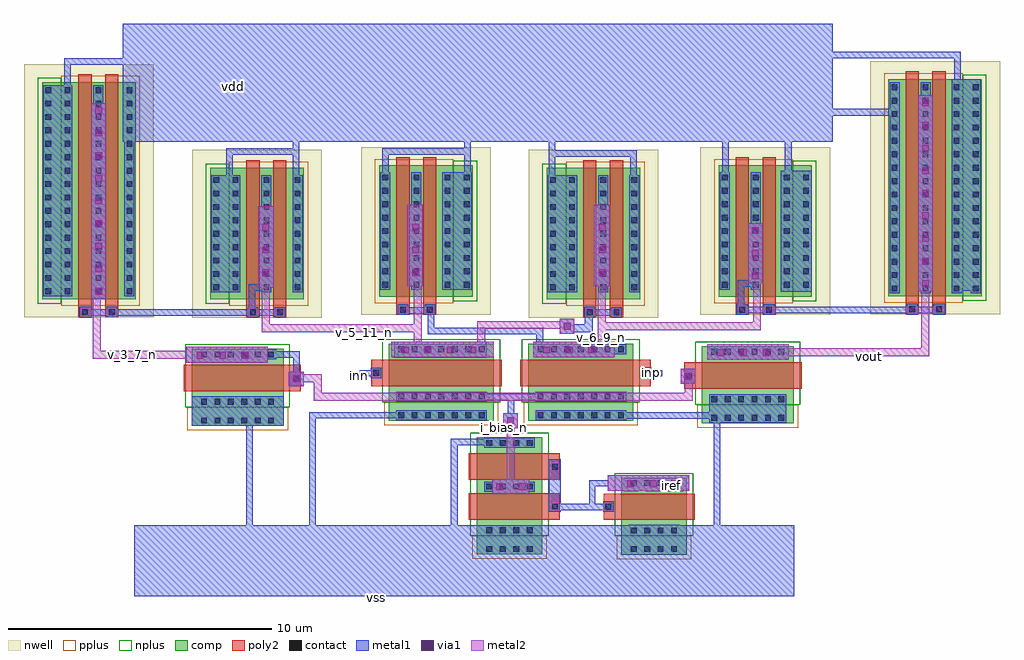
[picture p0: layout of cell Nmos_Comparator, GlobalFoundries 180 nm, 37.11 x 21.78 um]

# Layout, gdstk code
from math import pi, radians
import gdstk
lib = gdstk.Library(unit=1e-6, precision=1e-09)
def R(c, l, rs):  # rectangles x0, y0, x1, y1
    for r in rs: c.add(gdstk.rectangle(r[:2], r[2:], *l))
def A(c, l, x, y, w, h, nx, ny, dx, dy):  # array of equal rectangles
    R(c, l, [(x+i*dx, y+j*dy, x+i*dx+w, y+j*dy+h) for i in range(nx) for j in range(ny)])
nwell = (21, 0)
comp = (22, 0)
poly2 = (30, 0)
pplus = (31, 0)
nplus = (32, 0)
contact = (33, 0)
metal1 = (34, 0)
via1 = (35, 0)
metal2 = (36, 0)

via_dev = lib.new_cell('via_dev')
R(via_dev, metal1, [(0,0,0.56,0.56)])
R(via_dev, via1, [(0.15,0.15,0.41,0.41)])
R(via_dev, metal2, [(0,0,0.56,0.56)])

pfet_3 = lib.new_cell('pfet$3')
R(pfet_3, nwell, [(-1.15,-0.69,3.78,5.69)])
R(pfet_3, comp, [(-0.46,0,0,5), (0,0,1.9,5), (1.9,0,2.36,5), (2.36,0,3.09,5)])
R(pfet_3, poly2, [(0.19,-0.3,0.69,5.3), (1.21,-0.3,1.71,5.3), (0.19,5.3,0.69,5.68), (1.21,5.3,1.71,5.68)])
R(pfet_3, pplus, [(-0.63,-0.24,2.36,5.24)])
R(pfet_3, nplus, [(2.36,-0.17,3.26,5.17)])
A(pfet_3, contact, -0.34, 0.35, 0.22, 0.22, 3, 9, 1.18, 0.51)
A(pfet_3, contact, 2.75, 0.35, 0.22, 0.22, 1, 9, 0, 0.51)
R(pfet_3, contact, [(0.33,5.38,0.55,5.6), (1.35,5.38,1.57,5.6)])
A(pfet_3, metal1, -0.42, 0.27, 0.38, 4.46, 3, 1, 1.18, 0)
R(pfet_3, metal1, [(2.67,0.27,3.05,4.73), (0.25,5.299,0.63,5.681), (1.27,5.299,1.65,5.681)])

pfet = lib.new_cell('pfet')

nfet_6 = lib.new_cell('nfet$6')
R(nfet_6, comp, [(-0.42,0,0,3.5), (0,0,1.38,3.5), (1.38,0,1.8,3.5), (1.8,0,2.51,3.5)])
R(nfet_6, poly2, [(0.19,-0.3,1.19,3.8), (0.19,3.8,1.19,4.16)])
R(nfet_6, pplus, [(1.8,-0.17,2.68,3.67)])
R(nfet_6, nplus, [(-0.59,-0.24,1.8,3.74)])
A(nfet_6, contact, -0.32, 0.365, 0.22, 0.22, 1, 6, 0, 0.51)
A(nfet_6, contact, 1.48, 0.365, 0.22, 0.22, 1, 6, 0, 0.51)
A(nfet_6, contact, 2.19, 0.365, 0.22, 0.22, 1, 6, 0, 0.51)
R(nfet_6, contact, [(0.58,3.87,0.8,4.09)])
R(nfet_6, metal1, [(-0.4,0.285,-0.02,3.215), (1.4,0.285,1.78,3.215), (2.11,0.285,2.49,3.215), (0.5,3.789,0.88,4.171)])

nfet_5 = lib.new_cell('nfet$5')
R(nfet_5, comp, [(-0.42,0,0,4), (0,0,1.38,4), (1.38,0,1.8,4), (1.8,0,2.51,4)])
R(nfet_5, poly2, [(0.19,-0.3,1.19,4.3), (0.19,4.3,1.19,4.66)])
R(nfet_5, pplus, [(1.8,-0.17,2.68,4.17)])
R(nfet_5, nplus, [(-0.59,-0.24,1.8,4.24)])
A(nfet_5, contact, -0.32, 0.36, 0.22, 0.22, 1, 7, 0, 0.51)
A(nfet_5, contact, 1.48, 0.36, 0.22, 0.22, 1, 7, 0, 0.51)
A(nfet_5, contact, 2.19, 0.36, 0.22, 0.22, 1, 7, 0, 0.51)
R(nfet_5, contact, [(0.58,4.37,0.8,4.59)])
R(nfet_5, metal1, [(-0.4,0.28,-0.02,3.72), (1.4,0.28,1.78,3.72), (2.11,0.28,2.49,3.72), (0.5,4.289,0.88,4.671)])

pfet_1 = lib.new_cell('pfet$1')
R(pfet_1, nwell, [(-1.15,-0.69,3.78,8.94)])
R(pfet_1, comp, [(-0.46,0,0,8.25), (0,0,1.9,8.25), (1.9,0,2.36,8.25), (2.36,0,3.09,8.25)])
R(pfet_1, poly2, [(0.19,-0.3,0.69,8.55), (1.21,-0.3,1.71,8.55), (0.19,8.55,0.69,8.93), (1.21,8.55,1.71,8.93)])
R(pfet_1, pplus, [(-0.63,-0.24,2.36,8.49)])
R(pfet_1, nplus, [(2.36,-0.17,3.26,8.42)])
A(pfet_1, contact, -0.34, 0.19, 0.22, 0.22, 3, 16, 1.18, 0.51)
A(pfet_1, contact, 2.75, 0.19, 0.22, 0.22, 1, 16, 0, 0.51)
R(pfet_1, contact, [(0.33,8.63,0.55,8.85), (1.35,8.63,1.57,8.85)])
A(pfet_1, metal1, -0.42, 0.11, 0.38, 8.03, 3, 1, 1.18, 0)
R(pfet_1, metal1, [(2.67,0.11,3.05,8.14), (0.25,8.549,0.63,8.931), (1.27,8.549,1.65,8.931)])

nfet = lib.new_cell('nfet')
R(nfet, comp, [(-0.42,0,0,2.5), (0,0,2.9,2.5), (2.9,0,3.32,2.5), (3.32,0,4.03,2.5)])
R(nfet, poly2, [(0.19,-0.3,1.19,2.8), (1.71,-0.3,2.71,2.8), (0.19,2.8,1.19,3.16), (1.71,2.8,2.71,3.16)])
R(nfet, pplus, [(3.32,-0.17,4.2,2.67)])
R(nfet, nplus, [(-0.59,-0.24,3.32,2.74)])
A(nfet, contact, -0.32, 0.375, 0.22, 0.22, 3, 4, 1.66, 0.51)
A(nfet, contact, 3.71, 0.375, 0.22, 0.22, 1, 4, 0, 0.51)
R(nfet, contact, [(0.58,2.87,0.8,3.09), (2.1,2.87,2.32,3.09)])
A(nfet, metal1, -0.4, 0.295, 0.38, 1.91, 3, 1, 1.66, 0)
R(nfet, metal1, [(3.63,0.295,4.01,2.205), (0.5,2.789,0.88,3.171), (2.02,2.789,2.4,3.171)])

nfet_2 = lib.new_cell('nfet$2')
R(nfet_2, comp, [(-0.42,0,0,2.5), (0,0,1.38,2.5), (1.38,0,1.8,2.5), (1.8,0,2.51,2.5)])
R(nfet_2, poly2, [(0.19,-0.3,1.19,2.8), (0.19,2.8,1.19,3.16)])
R(nfet_2, pplus, [(1.8,-0.17,2.68,2.67)])
R(nfet_2, nplus, [(-0.59,-0.24,1.8,2.74)])
A(nfet_2, contact, -0.32, 0.375, 0.22, 0.22, 1, 4, 0, 0.51)
A(nfet_2, contact, 1.48, 0.375, 0.22, 0.22, 1, 4, 0, 0.51)
A(nfet_2, contact, 2.19, 0.375, 0.22, 0.22, 1, 4, 0, 0.51)
R(nfet_2, contact, [(0.58,2.87,0.8,3.09)])
R(nfet_2, metal1, [(-0.4,0.295,-0.02,2.205), (1.4,0.295,1.78,2.205), (2.11,0.295,2.49,2.205), (0.5,2.789,0.88,3.171)])

nmos_comparator = lib.new_cell('Nmos_Comparator')
R(nmos_comparator, metal1, [(-17.88,-9.19,7.22,-6.49), (0.91,-7.6,2.87,-6.47), (-4.55,-7.57,-2.655,-6.485), (-2.12,-5.98,-1.67,-3.98), (-0.05,-5.97,0.35,-5.57), (-4.27,-5.29,-2.85,-4.73), (0.13,-5.18,3.23,-4.58), (-15.7,-2.7,-12.2,-1.58), (3.985,-2.59,6.915,-1.5), (-11.92,-1.09,-11.52,-0.69), (3.01,-1,3.44,-0.58), (1.37,-0.9,1.78,-0.48), (-8.88,-0.89,-8.48,-0.49), (-15.9,-0.3,-12.8,0.3), (3.9,-0.2,7,0.4), (-7.99,-0.11,-4.49,0.49), (-2.7,-0.1,0.4,0.5), (-19.96,1.41,-19.5,1.82), (-13.56,1.41,-13.16,1.81), (-12.54,1.41,-12.14,1.81), (-0.76,1.41,-0.36,1.82), (0.26,1.41,0.66,1.81), (-18.93,1.42,-18.53,1.82), (-7.86,1.51,-7.46,1.92), (-6.84,1.51,-6.44,1.91), (5.04,1.51,5.45,1.92), (6.06,1.51,6.47,1.92), (11.5,1.52,11.91,1.93), (12.5,1.52,12.96,1.93), (-19.51,2.13,-18.95,9.57), (-21.34,2.22,-20.23,10.25), (-14.95,2.37,-13.84,6.83), (-2.15,2.37,-1.04,6.83), (6.7,2.4,7.89,7), (11.93,2.42,12.49,9.86), (13.21,2.435,14.31,10.465), (-6.16,2.47,-5.05,6.93), (-13.17,2.55,-12.57,5.65), (-7.5,2.6,-6.9,5.7), (-0.4,2.6,0.2,5.7), (5.46,2.72,6.02,5), (-2.125,6.83,-1.875,8.3), (-18.31,8.09,8.69,12.59)])
R(nmos_comparator, metal2, [(-4.27,-5.29,-2.85,-4.73), (0.13,-5.18,3.23,-4.58), (-15.9,-0.3,-12.8,0.3), (3.9,-0.2,7,0.4), (-8.1,-0.1,-4.2,0.5), (-2.7,-0.1,0.4,0.5), (-19.51,2.13,-18.95,9.57), (11.93,2.42,12.49,9.86), (-13.17,2.55,-12.57,5.65), (-7.5,2.6,-6.9,5.7), (-0.4,2.6,0.2,5.7), (5.46,2.72,6.02,5)])
nmos_comparator.add(gdstk.FlexPath([(-19.56,1.6),(-18.92,1.6)], 0.25, ends="flush", simple_path=True, layer=34, datatype=0))  # metal1
nmos_comparator.add(gdstk.FlexPath([(-12.53,1.6),(-13.17,1.6)], 0.25, ends="flush", simple_path=True, layer=34, datatype=0))  # metal1
nmos_comparator.add(gdstk.FlexPath([(-20.42,10.25),(-20.42,11.15),(-18.25,11.15),(-18.25,11.15)], 0.25, ends="flush", simple_path=True, layer=34, datatype=0))  # metal1
nmos_comparator.add(gdstk.FlexPath([(-14.26,6.56),(-14.26,7.73),(-11.6,7.73)], 0.25, ends="flush", simple_path=True, layer=34, datatype=0))  # metal1
nmos_comparator.add(gdstk.FlexPath([(-8.33,6.93),(-8.33,7.72),(-5.2,7.72)], 0.25, ends="flush", simple_path=True, layer=34, datatype=0))  # metal1
nmos_comparator.add(gdstk.FlexPath([(-13,2.55),(-13.4,2.55),(-13.4,1.72)], 0.25, ends="flush", simple_path=True, layer=34, datatype=0))  # metal1
nmos_comparator.add(gdstk.FlexPath([(-6.6,1.6),(-6.6,0.9),(-2.46,0.9),(-2.46,0.3)], 0.25, ends="flush", simple_path=True, layer=34, datatype=0))  # metal1
nmos_comparator.add(gdstk.FlexPath([(5.2,1.9),(5.2,2.7),(5.64,2.7)], 0.25, ends="flush", simple_path=True, layer=34, datatype=0))  # metal1
nmos_comparator.add(gdstk.FlexPath([(8.69,9.22),(11.22,9.22)], 0.25, ends="flush", simple_path=True, layer=34, datatype=0))  # metal1
nmos_comparator.add(gdstk.FlexPath([(-4.485,-3.32),(-5.71,-3.32),(-5.71,-6.785),(-4.4,-6.785)], 0.25, ends="flush", simple_path=True, layer=34, datatype=0))  # metal1
nmos_comparator.add(gdstk.FlexPath([(-0.6,1.5),(-0.6,1),(-1.14,1),(-1.14,1)], 0.3, ends="flush", simple_path=True, layer=34, datatype=0))  # metal1
nmos_comparator.add(gdstk.FlexPath([(1.1,6.75),(1.1,7.65),(-2.125,7.65)], 0.25, ends="flush", simple_path=True, layer=34, datatype=0))  # metal1
nmos_comparator.add(gdstk.FlexPath([(6.99,6.93),(6.99,8.43)], 0.25, ends="flush", simple_path=True, layer=34, datatype=0))  # metal1
nmos_comparator.add(gdstk.FlexPath([(11.9,1.7),(12.54,1.7)], 0.25, ends="flush", simple_path=True, layer=34, datatype=0))  # metal1
nmos_comparator.add(gdstk.FlexPath([(-3.56,-2.47),(-3.56,-1.6),(-2.39,-1.6)], 0.25, ends="flush", simple_path=True, layer=34, datatype=0))  # metal1
nmos_comparator.add(gdstk.FlexPath([(-3.56,-1.6),(-4.69,-1.6),(-4.69,-1.6)], 0.25, ends="flush", simple_path=True, layer=34, datatype=0))  # metal1
nmos_comparator.add(gdstk.FlexPath([(13.42,10.47),(13.42,11.4),(7.89,11.4)], 0.25, ends="flush", simple_path=True, layer=34, datatype=0))  # metal1
nmos_comparator.add(gdstk.FlexPath([(13.42,10.57),(13.42,10.06)], 0.25, ends="flush", simple_path=True, layer=34, datatype=0))  # metal1
nmos_comparator.add(gdstk.FlexPath([(-12.8,0),(-11.71,0),(-11.71,-0.78)], 0.25, ends="flush", simple_path=True, layer=34, datatype=0))  # metal1
nmos_comparator.add(gdstk.FlexPath([(0.82,-2.31),(4.11,-2.31)], 0.25, ends="flush", simple_path=True, layer=34, datatype=0))  # metal1
nmos_comparator.add(gdstk.FlexPath([(1.225,-4.89),(-0.47,-4.89),(-0.47,-5.675),(-0.47,-5.675)], 0.23, ends="flush", simple_path=True, layer=34, datatype=0))  # metal1
nmos_comparator.add(gdstk.FlexPath([(0.33,-5.79),(-1.87,-5.79),(-1.87,-4.29),(-1.87,-4.17),(-1.87,-4.17)], 0.23, ends="flush", simple_path=True, layer=34, datatype=0))  # metal1
nmos_comparator.add(gdstk.FlexPath([(4.285,-2.38),(4.285,-7.27),(4.48,-7.27)], 0.25, ends="flush", simple_path=True, layer=34, datatype=0))  # metal1
nmos_comparator.add(gdstk.FlexPath([(6.45,1.7),(11.52,1.7),(11.52,1.7)], 0.25, ends="flush", simple_path=True, layer=34, datatype=0))  # metal1
nmos_comparator.add(gdstk.FlexPath([(-3.715,-1.6),(-4.509,-1.6),(-4.509,-1.6)], 0.23, ends="flush", simple_path=True, layer=34, datatype=0))  # metal1
nmos_comparator.add(gdstk.FlexPath([(1.7,-0.7),(2.2,-0.7)], 0.23, ends="flush", simple_path=True, layer=34, datatype=0))  # metal1
nmos_comparator.add(gdstk.FlexPath([(-8.8,-0.7),(-9.3,-0.7)], 0.23, ends="flush", simple_path=True, layer=34, datatype=0))  # metal1
nmos_comparator.add(gdstk.FlexPath([(-7.85,-2.3),(-11.1,-2.3),(-11.1,-6.6),(-11.1,-6.6)], 0.23, ends="flush", simple_path=True, layer=34, datatype=0))  # metal1
nmos_comparator.add(gdstk.FlexPath([(-7.44,1.68),(-6.8,1.68),(-6.8,1.68)], 0.25, ends="flush", simple_path=True, layer=34, datatype=0))  # metal1
nmos_comparator.add(gdstk.FlexPath([(-0.37,1.6),(0.27,1.6)], 0.25, ends="flush", simple_path=True, layer=34, datatype=0))  # metal1
nmos_comparator.add(gdstk.FlexPath([(6.07,1.7),(5.43,1.7)], 0.25, ends="flush", simple_path=True, layer=34, datatype=0))  # metal1
nmos_comparator.add(gdstk.FlexPath([(-13.5,-2),(-13.5,-6.6),(-13.5,-6.6)], 0.25, ends="flush", simple_path=True, layer=34, datatype=0))  # metal1
nmos_comparator.add(gdstk.FlexPath([(-7.44,1.68),(-7.5,1.68),(-7.55,1.68)], 0.25, ends="flush", simple_path=True, layer=34, datatype=0))  # metal1
nmos_comparator.add(gdstk.FlexPath([(-5.2,6.9),(-5.2,8.9)], 0.25, ends="flush", simple_path=True, layer=34, datatype=0))  # metal1
nmos_comparator.add(gdstk.FlexPath([(-11.725,6.83),(-11.725,8.1)], 0.25, ends="flush", simple_path=True, layer=34, datatype=0))  # metal1
nmos_comparator.add(gdstk.FlexPath([(4.6,6.93),(4.6,8.3)], 0.25, ends="flush", simple_path=True, layer=34, datatype=0))  # metal1
nmos_comparator.add(gdstk.FlexPath([(11.52,1.7),(11.6,1.7)], 0.25, ends="flush", simple_path=True, layer=34, datatype=0))  # metal1
nmos_comparator.add(gdstk.FlexPath([(-18.575,1.6),(-13.495,1.6)], 0.25, ends="flush", simple_path=True, layer=34, datatype=0))  # metal1
nmos_comparator.add(gdstk.FlexPath([(3.2,-1.15),(3.2,-1.45),(3.2,-1.6),(2.6,-1.6),(2.6,-1.6)], 0.3, ends="flush", simple_path=True, layer=36, datatype=0))  # metal2
nmos_comparator.add(gdstk.FlexPath([(-7.1,2.7),(-7.1,0.465)], 0.3, ends="flush", simple_path=True, layer=36, datatype=0))  # metal2
nmos_comparator.add(gdstk.FlexPath([(-1.28,1.13),(-4.69,1.13),(-4.69,0.5),(-4.69,0.5)], 0.3, ends="flush", simple_path=True, layer=36, datatype=0))  # metal2
nmos_comparator.add(gdstk.FlexPath([(-0.1,2.705),(-0.1,0.5),(-0.1,0.5)], 0.3, ends="flush", simple_path=True, layer=36, datatype=0))  # metal2
nmos_comparator.add(gdstk.FlexPath([(-0.035,1.08),(5.8,1.08),(5.8,2.8)], 0.3, ends="flush", simple_path=True, layer=36, datatype=0))  # metal2
nmos_comparator.add(gdstk.FlexPath([(-11.05,-1.6),(2.6,-1.6)], 0.3, ends="flush", simple_path=True, layer=36, datatype=0))  # metal2
nmos_comparator.add(gdstk.FlexPath([(3.2,-1.15),(3.2,-1.1)], 0.3, ends="flush", simple_path=True, layer=36, datatype=0))  # metal2
nmos_comparator.add(gdstk.FlexPath([(-11.44,-0.9),(-10.9,-0.9),(-10.9,-1.6),(-10.9,-1.75)], 0.3, ends="flush", simple_path=True, layer=36, datatype=0))  # metal2
nmos_comparator.add(gdstk.FlexPath([(-3.56,-5.04),(-3.56,-2.38),(-3.56,-2.34)], 0.3, ends="flush", simple_path=True, layer=36, datatype=0))  # metal2
nmos_comparator.add(gdstk.FlexPath([(-7.225,1),(-8.4,1)], 0.3, ends="flush", simple_path=True, layer=36, datatype=0))  # metal2
nmos_comparator.add(gdstk.FlexPath([(-12.875,2.65),(-12.875,1),(-8.4,1)], 0.3, ends="flush", simple_path=True, layer=36, datatype=0))  # metal2
nmos_comparator.add(gdstk.FlexPath([(-15.9,0),(-19.3,0),(-19.3,2.6)], 0.3, ends="flush", simple_path=True, layer=36, datatype=0))  # metal2
nmos_comparator.add(gdstk.FlexPath([(7.221,0.1),(7,0.1),(7,0.1)], 0.3, ends="flush", simple_path=True, layer=36, datatype=0))  # metal2
nmos_comparator.add(gdstk.FlexPath([(7,0.1),(12.2,0.1),(12.2,2.8)], 0.3, ends="flush", simple_path=True, layer=36, datatype=0))  # metal2
r = gdstk.Reference(via_dev, (0.2,5.12), rotation=pi); r.repetition = gdstk.Repetition(1, 3, v1=(0,0), v2=(0,-0.86)); nmos_comparator.add(r)
r = gdstk.Reference(via_dev, (12.49,9.86), rotation=pi); r.repetition = gdstk.Repetition(1, 9, v1=(0,0), v2=(0,-0.86)); nmos_comparator.add(r)
r = gdstk.Reference(via_dev, (-6.9,5.12), rotation=pi); r.repetition = gdstk.Repetition(1, 3, v1=(0,0), v2=(0,-0.86)); nmos_comparator.add(r)
nmos_comparator.add(gdstk.Reference(via_dev, (-12,-1.2)))
nmos_comparator.add(gdstk.Reference(via_dev, (2.9,-1.1)))
nmos_comparator.add(gdstk.Reference(via_dev, (-1.7,0.8)))
r = gdstk.Reference(via_dev, (-12.6,5.12), rotation=pi); r.repetition = gdstk.Repetition(1, 3, v1=(0,0), v2=(0,-0.86)); nmos_comparator.add(r)
r = gdstk.Reference(via_dev, (-13.38,-0.3), rotation=pi/2); r.repetition = gdstk.Repetition(1, 3, v1=(0,0), v2=(-0.86,0)); nmos_comparator.add(r)
r = gdstk.Reference(via_dev, (-4.72,-0.1), rotation=pi/2); r.repetition = gdstk.Repetition(1, 4, v1=(0,0), v2=(-0.86,0)); nmos_comparator.add(r)
r = gdstk.Reference(via_dev, (-0.2,-0.1), rotation=pi/2); r.repetition = gdstk.Repetition(1, 3, v1=(0,0), v2=(-0.86,0)); nmos_comparator.add(r)
r = gdstk.Reference(via_dev, (6.02,5), rotation=pi); r.repetition = gdstk.Repetition(1, 3, v1=(0,0), v2=(0,-0.86)); nmos_comparator.add(r)
r = gdstk.Reference(via_dev, (6.42,-0.2), rotation=pi/2); r.repetition = gdstk.Repetition(1, 3, v1=(0,0), v2=(-0.86,0)); nmos_comparator.add(r)
nmos_comparator.add(gdstk.Reference(pfet_3, (4.8,7.2), x_reflection=True))
nmos_comparator.add(gdstk.Reference(pfet, (-4.727,1.16), rotation=pi/2))
nmos_comparator.add(gdstk.Reference(pfet_3, (-11.9,7.1), rotation=pi))
nmos_comparator.add(gdstk.Reference(pfet, (-4.727,1.16), rotation=pi/2))
nmos_comparator.add(gdstk.Reference(pfet_3, (0.9,7.1), rotation=pi))
nmos_comparator.add(gdstk.Reference(pfet_3, (-8.1,7.2), x_reflection=True))
nmos_comparator.add(gdstk.Reference(nfet_6, (-15.7,-0.2), rotation=3*pi/2))
nmos_comparator.add(gdstk.Reference(nfet_5, (-2.9,0), rotation=3*pi/2))
nmos_comparator.add(gdstk.Reference(nfet_5, (-4.2,0), rotation=3*pi/2, x_reflection=True))
nmos_comparator.add(gdstk.Reference(nfet_6, (7.2,-0.1), rotation=3*pi/2, x_reflection=True))
r = gdstk.Reference(via_dev, (-18.95,9.57), rotation=pi); r.repetition = gdstk.Repetition(1, 9, v1=(0,0), v2=(0,-0.86)); nmos_comparator.add(r)
nmos_comparator.add(gdstk.Reference(pfet_1, (-18.29,10.36), rotation=pi))
nmos_comparator.add(gdstk.Reference(pfet_1, (11.26,10.47), x_reflection=True))
nmos_comparator.add(gdstk.Reference(via_dev, (-3.29,-2.79), rotation=pi/2))
r = gdstk.Reference(via_dev, (-4.27,-5.3), rotation=pi/2, x_reflection=True); r.repetition = gdstk.Repetition(1, 2, v1=(0,0), v2=(0.86,0)); nmos_comparator.add(r)
nmos_comparator.add(gdstk.Reference(nfet, (-4.86,-3.565), rotation=3*pi/2))
nmos_comparator.add(gdstk.Reference(nfet_2, (3.13,-5.09), rotation=3*pi/2, x_reflection=True))
r = gdstk.Reference(via_dev, (0.71,-5.19), rotation=pi/2, x_reflection=True); r.repetition = gdstk.Repetition(1, 3, v1=(0,0), v2=(0.86,0)); nmos_comparator.add(r)
nmos_comparator.add(gdstk.Label('vout', (10.07,-0.05), layer=34, texttype=10))
nmos_comparator.add(gdstk.Label('vss', (-8.66,-9.24), layer=34, texttype=10))
nmos_comparator.add(gdstk.Label('v_6_9_n', (-0.1,0.66), layer=34, texttype=10))
nmos_comparator.add(gdstk.Label('inn', (-9.3,-0.8), layer=34, texttype=10))
nmos_comparator.add(gdstk.Label('inp', (1.789,-0.66), layer=34, texttype=10))
nmos_comparator.add(gdstk.Label('vdd', (-14.1,10.2), layer=34, texttype=10))
nmos_comparator.add(gdstk.Label('iref', (2.55,-4.98), layer=36, texttype=10))
nmos_comparator.add(gdstk.Label('i_bias_n', (-3.81,-2.76), layer=36, texttype=10))
nmos_comparator.add(gdstk.Label('v_3_7_n', (-17.93,0), layer=36, texttype=10))
nmos_comparator.add(gdstk.Label('v_5_11_n', (-9.14,0.85), layer=36, texttype=10))

lib.write_gds('Nmos_Comparator.gds')
